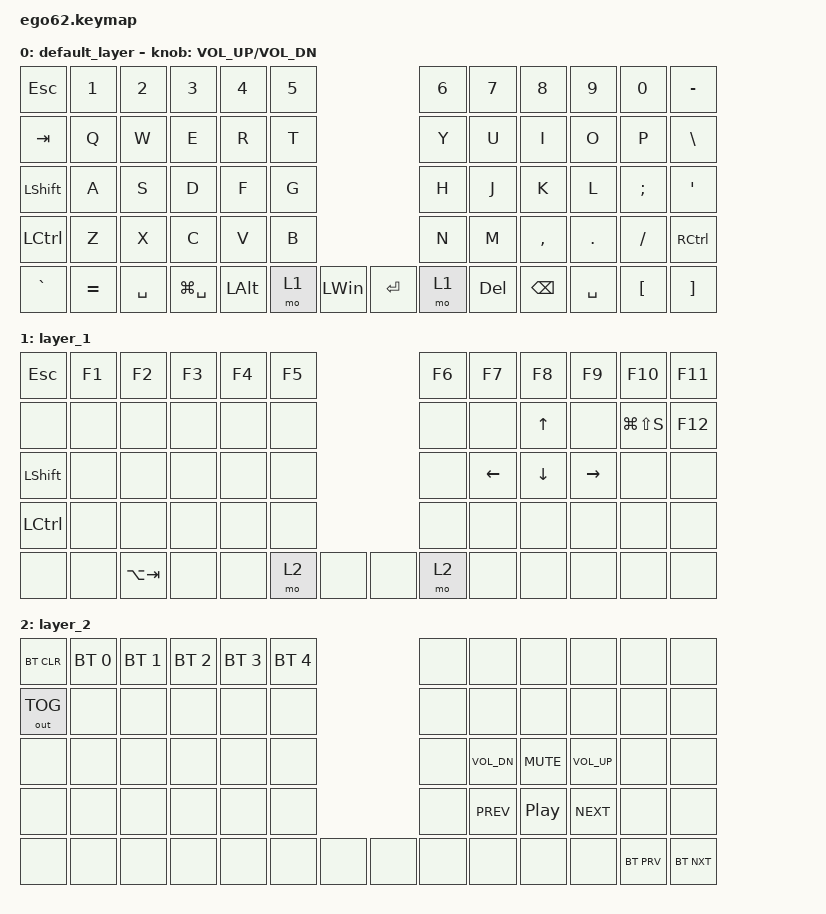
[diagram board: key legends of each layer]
/*
 * Copyright (c) 2020 The ZMK Contributors
 *
 * SPDX-License-Identifier: MIT
 */

#include <behaviors.dtsi>
#include <dt-bindings/zmk/bt.h>
#include <dt-bindings/zmk/keys.h>
#include <dt-bindings/zmk/outputs.h>

/ {
    keymap {
        compatible = "zmk,keymap";

        default_layer {
            bindings = <
&kp ESCAPE      &kp N1     &kp N2     &kp N3         &kp N4    &kp N5                           &kp N6  &kp N7      &kp N8         &kp N9     &kp N0         &kp MINUS
&kp TAB         &kp Q      &kp W      &kp E          &kp R     &kp T                            &kp Y   &kp U       &kp I          &kp O      &kp P          &kp BACKSLASH
&kp LEFT_SHIFT  &kp A      &kp S      &kp D          &kp F     &kp G                            &kp H   &kp J       &kp K          &kp L      &kp SEMICOLON  &kp SQT
&kp LCTRL       &kp Z      &kp X      &kp C          &kp V     &kp B                            &kp N   &kp M       &kp COMMA      &kp DOT    &kp FSLH       &kp RCTRL
&kp GRAVE       &kp EQUAL  &kp SPACE  &kp LG(SPACE)  &kp LALT  &mo 1   &kp LEFT_WIN  &kp ENTER  &mo 1   &kp DELETE  &kp BACKSPACE  &kp SPACE  &kp LBKT       &kp RBKT
            >;

            sensor-bindings = <&inc_dec_kp C_VOL_UP C_VOL_DN>;
        };

        layer_1 {
            bindings = <
&kp ESC           &kp F1  &kp F2       &kp F3  &kp F4  &kp F5                &kp F6  &kp F7    &kp F8    &kp F9     &kp F10        &kp F11
&none             &none   &none        &none   &none   &none                 &none   &none     &kp UP    &none      &kp LG(LS(S))  &kp F12
&kp LEFT_SHIFT    &none   &none        &none   &none   &none                 &none   &kp LEFT  &kp DOWN  &kp RIGHT  &none          &none
&kp LEFT_CONTROL  &none   &none        &none   &none   &none                 &none   &none     &none     &none      &none          &none
&none             &none   &kp LA(TAB)  &none   &none   &mo 2   &none  &none  &mo 2   &none     &none     &none      &none          &none
            >;
        };

        layer_2 {
            bindings = <
&bt BT_CLR    &bt BT_SEL 0  &bt BT_SEL 1  &bt BT_SEL 2  &bt BT_SEL 3  &bt BT_SEL 4                &none  &none         &none       &none         &none       &none
&out OUT_TOG  &none         &none         &none         &none         &none                       &none  &none         &none       &none         &none       &none
&none         &none         &none         &none         &none         &none                       &none  &kp C_VOL_DN  &kp C_MUTE  &kp C_VOL_UP  &none       &none
&none         &none         &none         &none         &none         &none                       &none  &kp C_PREV    &kp C_PP    &kp C_NEXT    &none       &none
&none         &none         &none         &none         &none         &none         &none  &none  &none  &none         &none       &none         &bt BT_PRV  &bt BT_NXT
            >;
        };
    };
};
